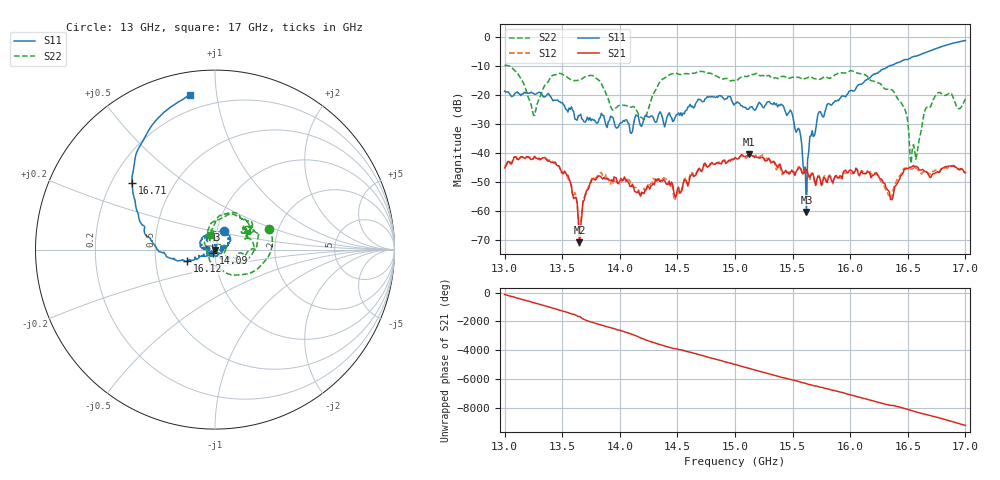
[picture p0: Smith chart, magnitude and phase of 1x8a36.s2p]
!Keysight Technologies,P9374A,MY57211807,A.19.30.04
!Date: Friday, May 08, 2026 14:13:29
!Correction: S11(C  2-Port  )
!S21(C  2-Port  )
!S12(C  2-Port  )
!S22(C  2-Port  )
!S2P File: Measurements: S11, S21, S12, S22:
# Hz S  dB  R 50
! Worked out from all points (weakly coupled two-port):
!   401 points, 13 GHz to 17 GHz, reference 50 ohm
!   highest |S21| = -40.43 dB at 15.12 GHz (marker M1); lowest = -70.6 dB at 13.65 GHz (marker M2)
!   lowest |S11| = -60.2 dB at 15.62 GHz (marker M3), VSWR 1.00, Z = 50.1 + j0.0413 ohm
!   |S11| at or under -10 dB: start of sweep to 16.34 GHz
!   |S22| runs from -43.6 to -9.7 dB; largest |S21 - S12| = 0.0012
!   S11 on the Smith chart (normalised r, x): 13 GHz: 1.08, +0.23; 14.09 GHz: 0.98, -0.04; 16.12 GHz: 0.73, -0.10; 16.71 GHz: 0.28, +0.33; 17 GHz: 0.12, +0.84
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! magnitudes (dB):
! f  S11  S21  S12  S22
! 13 GHz  -18.6  -45.1  -44.5  -9.8
! 13.25 GHz  -19.3  -41.8  -41.9  -26.8
! 13.45 GHz  -21.7  -44.0  -44.1  -12.9
! 13.56 GHz  -24.4  -48.9  -49.2  -14.3
! 13.65 GHz  -27.0  -70.6  -72.0  -14.9
! 13.67 GHz  -28.1  -61.9  -60.5  -14.4
! 13.77 GHz  -28.6  -48.7  -48.3  -13.4
! 14.09 GHz  -32.8  -51.5  -49.7  -24.1
! 14.21 GHz  -28.1  -53.9  -52.1  -28.5
! 14.34 GHz  -26.4  -49.3  -48.8  -16.0
! 14.49 GHz  -26.8  -54.7  -54.2  -12.5
! 15 GHz  -23.0  -41.5  -41.6  -15.1
! 15.12 GHz  -24.8  -40.4  -40.9  -13.3
! 15.48 GHz  -25.1  -46.8  -45.8  -14.1
! 15.62 GHz  -60.2  -45.6  -46.5  -14.2
! 15.67 GHz  -32.2  -47.0  -46.8  -13.9
! 16.12 GHz  -15.5  -47.1  -46.4  -12.9
! 16.34 GHz  -10.0  -53.3  -54.5  -18.0
! 16.47 GHz  -7.8  -45.5  -45.1  -24.5
! 16.54 GHz  -6.9  -44.6  -45.4  -37.8
! 16.71 GHz  -4.5  -47.4  -46.6  -22.7
! 17 GHz  -1.2  -46.7  -46.7  -21.3
